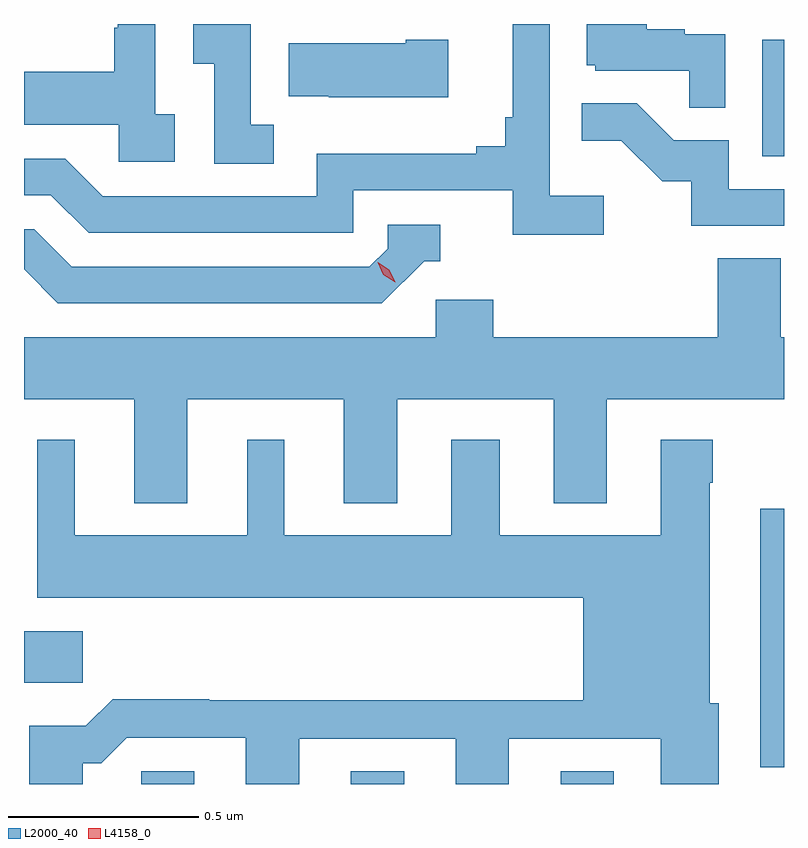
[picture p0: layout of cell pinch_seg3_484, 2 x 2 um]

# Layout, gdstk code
import gdstk
lib = gdstk.Library(unit=1e-6, precision=1e-09)
def R(c, l, rs):  # rectangles x0, y0, x1, y1
    for r in rs: c.add(gdstk.rectangle(r[:2], r[2:], *l))
def P(c, l, *ps):  # polygons
    for p in ps: c.add(gdstk.Polygon(p, *l))
L2000_40 = (2000, 40)
L4158_0 = (4158, 0)

pinch_seg3_484 = lib.new_cell('pinch_seg3_484')
R(pinch_seg3_484, L2000_40, [(936.51,675.928,936.649,675.962), (937.061,675.928,937.201,675.962), (937.613,675.928,937.753,675.962), (936.201,676.195,936.355,676.33), (938.144,677.58,938.201,677.887)])
P(pinch_seg3_484, L2000_40, [(938.046,677.901),(937.94,677.901),(937.94,677.914),(937.84,677.914),(937.84,677.928),(937.682,677.928),(937.682,677.82),(937.704,677.82),(937.704,677.805),(937.951,677.805),(937.951,677.707),(938.046,677.707)],
  [(936.598,677.69),(936.546,677.69),(936.546,677.928),(936.448,677.928),(936.448,677.918),(936.438,677.918),(936.438,677.803),(936.201,677.803),(936.201,677.663),(936.45,677.663),(936.45,677.565),(936.598,677.565)],
  [(936.858,677.663),(936.798,677.663),(936.798,677.928),(936.647,677.928),(936.647,677.824),(936.702,677.824),(936.702,677.56),(936.858,677.56)],
  [(937.726,677.476),(937.584,677.476),(937.584,677.928),(937.487,677.928),(937.487,677.683),(937.468,677.683),(937.468,677.606),(937.391,677.606),(937.391,677.587),(936.972,677.587),(936.972,677.475),(936.408,677.475),(936.309,677.574),(936.201,677.574),(936.201,677.478),(936.272,677.478),(936.371,677.379),(937.068,677.379),(937.068,677.49),(937.487,677.49),(937.487,677.374),(937.726,677.374)],
  [(937.318,677.886),(937.205,677.886),(937.205,677.878),(936.898,677.878),(936.898,677.738),(937.003,677.738),(937.003,677.735),(937.318,677.735)],
  [(938.201,677.493),(938.055,677.493),(938.055,677.622),(937.911,677.622),(937.813,677.72),(937.669,677.72),(937.669,677.621),(937.773,677.621),(937.88,677.514),(937.957,677.514),(937.957,677.397),(938.201,677.397)],
  [(937.254,677.304),(937.297,677.304),(937.297,677.4),(937.158,677.4),(937.158,677.337),(937.11,677.289),(936.327,677.289),(936.228,677.388),(936.201,677.388),(936.201,677.282),(936.29,677.193),(937.143,677.193)],
  [(936.631,676.94),(937.043,676.94),(937.043,676.667),(937.183,676.667),(937.183,676.94),(937.595,676.94),(937.595,676.667),(937.735,676.667),(937.735,676.94),(938.201,676.94),(938.201,677.104),(938.192,677.104),(938.192,677.312),(938.027,677.312),(938.027,677.104),(937.436,677.104),(937.436,677.202),(937.284,677.202),(937.284,677.104),(936.201,677.104),(936.201,676.94),(936.491,676.94),(936.491,676.667),(936.631,676.667)],
  [(936.355,675.983),(936.404,675.983),(936.471,676.05),(936.785,676.05),(936.785,675.928),(936.925,675.928),(936.925,676.047),(937.337,676.047),(937.337,675.928),(937.477,675.928),(937.477,676.047),(937.877,676.047),(937.877,675.928),(938.029,675.928),(938.029,676.14),(938.005,676.14),(938.005,676.721),(938.013,676.721),(938.013,676.834),(937.877,676.834),(937.877,676.582),(937.453,676.582),(937.453,676.834),(937.325,676.834),(937.325,676.582),(936.886,676.582),(936.886,676.834),(936.788,676.834),(936.788,676.582),(936.334,676.582),(936.334,676.834),(936.236,676.834),(936.236,676.418),(937.673,676.418),(937.673,676.148),(936.689,676.148),(936.689,676.151),(936.434,676.151),(936.364,676.081),(936.215,676.081),(936.215,675.928),(936.355,675.928)],
  [(938.201,676.652),(938.138,676.652),(938.138,676.24),(938.139,676.24),(938.139,675.972),(938.201,675.972)])
P(pinch_seg3_484, L4158_0, [(937.178,677.248),(937.147,677.268),(937.132,677.301),(937.132,677.301),(937.132,677.301),(937.162,677.281),(937.178,677.248),(937.178,677.248)])

lib.write_gds('pinch_seg3_484.gds')
